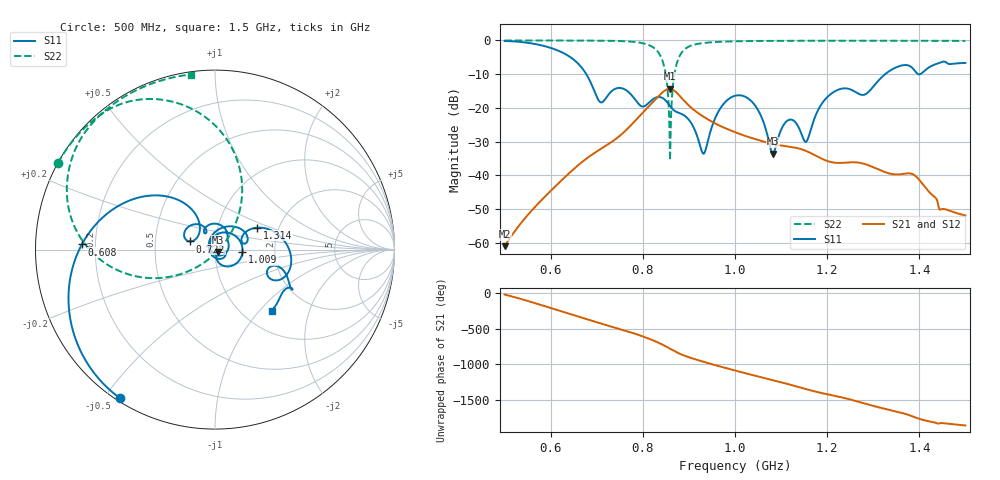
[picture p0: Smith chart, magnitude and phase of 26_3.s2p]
! TOUCHSTONE file generated by CST MICROWAVE STUDIO
! Date and time: Fri Oct  2 16:37:10 2020
! Project name: Scenario_1_Free_Space_out_of_line.cst
! Parameters = {Lambda=346.42; Step_1=17.321; dy1=-85.885; dx1=520; L_HA=400; MT=2.54; Rad_Dielectric=30; Rad_Lower=7.3; Rad_Upper=30; a_HA=580; a_WG=246; b_HA=500; b_WG=121; c_HA=0; c_WG=187; d_feed=85; h_feed=15; h_lower=18; h_upper=40}
! Header version: 2018
! Port assignment regex: !\s*Touchstone port\s*([0-9]+)\s*=\s*(CST MWS port|CST DS port)\s*([0-9]+|Zmin|Zmax)\s*\(\"(.*)\"\)(\s*mode\s*([0-9]+))?.*
! Touchstone port assignment:
! Touchstone port 1 = CST MWS port 1 ("")
! Touchstone port 2 = CST MWS port 2 ("")
# GHz S DB R 50
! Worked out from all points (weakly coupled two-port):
!   1003 points, 500 MHz to 1.5 GHz, reference 50 ohm
!   highest |S21| = -14.36 dB at 858 MHz (marker M1); lowest = -61.1 dB at 500 MHz (marker M2)
!   lowest |S11| = -33.6 dB at 1.082 GHz (marker M3), VSWR 1.04, Z = 51.6 - j1.4 ohm
!   |S11| at or under -10 dB: 677.2 MHz to 1.326 GHz (648.8 MHz wide, 64.8 % of centre); 1.397423 GHz to 1.402195 GHz (4.771 MHz wide, 0.341 % of centre)
!   |S22| runs from -35.7 to 0.0 dB; largest |S21 - S12| = 4.7e-06
!   S11 on the Smith chart (normalised r, x): 500 MHz: 0.01, -0.55; 608 MHz: 0.15, +0.02; 722 MHz: 0.75, +0.07; 1.009 GHz: 1.36, -0.04; 1.314 GHz: 1.55, +0.41; 1.5 GHz: 1.34, -1.16
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0.5  -0.15 -122.6  -61.06 -18.5  -61.06 -18.5  -0.01 151.1
0.608  -2.59 177.8  -43.57 136.8  -43.57 136.8  -0.02 143.4
0.667  -8.02 131.9  -36.19 18.7  -36.19 18.7  -0.04 138.2
0.705  -17.97 134.2  -32.52 -58.5  -32.52 -58.5  -0.08 134.1
0.722  -16.70 161.9  -31.05 -91.7  -31.05 -91.7  -0.10 131.9
0.834  -16.79 93.5  -16.55 23.4  -16.55 23.4  -3.61 87.3
0.848  -17.63 66.3  -14.85 -21.5  -14.85 -21.5  -8.80 65.3
0.858  -19.28 49.9  -14.36 -57.6  -14.36 -57.6  -27.55 25.5
0.88  -21.59 26.0  -16.44 -131.6  -16.44 -131.6  -4.57 -170.9
0.932  -33.63 -146.5  -22.66 114.2  -22.66 114.2  -0.76 153.5
0.964  -21.10 80.2  -25.10 55.2  -25.10 55.2  -0.43 145.9
1  -16.42 10.5  -27.23 -7.7  -27.23 -7.7  -0.26 140.1
1.009  -16.27 -5.2  -27.69 -23.1  -27.69 -23.1  -0.23 138.9
1.049  -20.43 -65.9  -29.48 -90.5  -29.48 -90.5  -0.17 134.4
1.082  -33.64 -40.8  -30.76 -144.5  -30.76 -144.5  -0.13 131.2
1.114  -23.79 -22.5  -31.44 162.5  -31.44 162.5  -0.12 128.4
1.153  -30.13 -153.7  -32.73 92.4  -32.73 92.4  -0.10 125.2
1.167  -25.29 126.6  -33.61 67.8  -33.61 67.8  -0.09 124.1
1.211  -15.60 50.6  -36.17 2.9  -36.17 2.9  -0.08 120.7
1.314  -11.52 27.4  -38.46 -169.5  -38.46 -169.5  -0.09 112.9
1.334  -9.18 16.1  -39.44 159.8  -39.44 159.8  -0.09 111.4
1.5  -6.67 -47.1  -51.94 -61.3  -51.94 -61.3  -0.14 97.8
